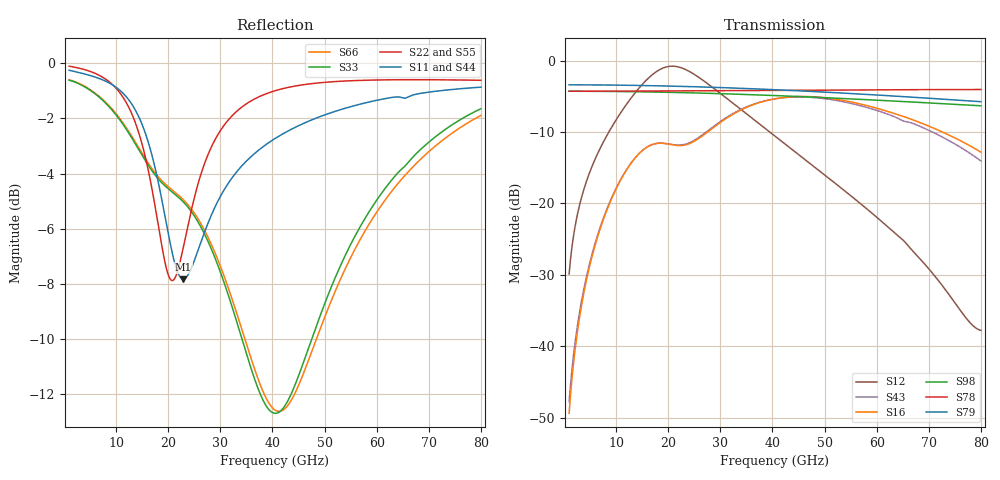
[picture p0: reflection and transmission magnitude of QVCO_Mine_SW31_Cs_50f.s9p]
! Touchstone Ver. 1.0
! Number of ports is 9
# Hz	S	RI	R	50.000000
! SCATTERING PARAMETERS  :
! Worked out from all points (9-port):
!   1001 points, 1 GHz to 80 GHz, reference 50 ohm
!   strongest paths, dB at 1 GHz, 20.75 GHz, 40.5 GHz, 60.25 GHz, 80 GHz:
!     S79: -3.4, -3.6, -4.1, -4.8, -5.8
!     S78: -4.3, -4.2, -4.2, -4.1, -4.0
!     S98: -4.3, -4.4, -4.9, -5.5, -6.3
!     S16: -49.4, -11.8, -5.3, -6.7, -12.8
!     S43: -47.8, -11.8, -5.3, -7.0, -14.1
!     S12: -29.9, -0.8, -10.6, -22.1, -37.8
!   lowest |S11| = -7.8 dB at 22.88 GHz (marker M1), VSWR 2.37, Z = 40.6 + j38.9 ohm
!   |S11| at or under -10 dB: nowhere
